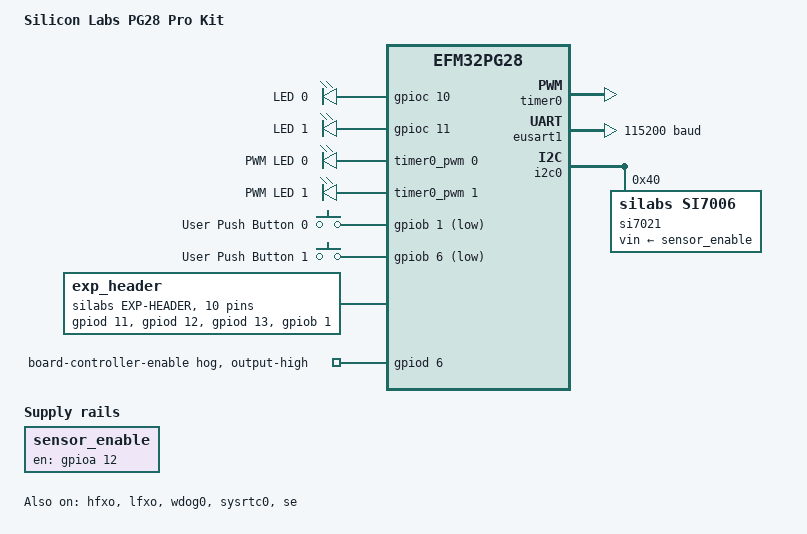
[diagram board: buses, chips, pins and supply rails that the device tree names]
/*
 * Copyright (c) 2025 Christoph Jans
 *
 * SPDX-License-Identifier: Apache-2.0
 */

/dts-v1/;
#include <silabs/xg28/efm32pg28b310f1024im68.dtsi>
#include <zephyr/dt-bindings/input/input-event-codes.h>
#include <zephyr/dt-bindings/pwm/pwm.h>
#include <zephyr/dt-bindings/regulator/silabs_dcdc.h>
#include "pg28_pk2506a-pinctrl.dtsi"

/ {
	model = "Silicon Labs PG28 Pro Kit";
	compatible = "silabs,pg28_pk2506a", "silabs,efm32pg28";

	chosen {
		zephyr,code-partition = &slot0_partition;
		zephyr,console = &eusart1;
		zephyr,flash = &flash0;
		zephyr,shell-uart = &eusart1;
		zephyr,sram = &sram0;
		zephyr,uart-pipe = &eusart1;
	};

	aliases {
		dht0 = &si7021;
		led0 = &led0;
		led1 = &led1;
		pwm-led0 = &pwm_led0;
		pwm-led1 = &pwm_led1;
		sw0 = &button0;
		sw1 = &button1;
		watchdog0 = &wdog0;
	};

	leds {
		compatible = "gpio-leds";

		led0: led_0 {
			gpios = <&gpioc 10 GPIO_ACTIVE_HIGH>;
			label = "LED 0";
		};

		led1: led_1 {
			gpios = <&gpioc 11 GPIO_ACTIVE_HIGH>;
			label = "LED 1";
		};
	};

	pwmleds {
		compatible = "pwm-leds";

		pwm_led0: pwm_led_0 {
			pwms = <&timer0_pwm 0 PWM_MSEC(20) PWM_POLARITY_NORMAL>;
			label = "PWM LED 0";
		};

		pwm_led1: pwm_led_1 {
			pwms = <&timer0_pwm 1 PWM_MSEC(20) PWM_POLARITY_NORMAL>;
			label = "PWM LED 1";
		};
	};

	buttons {
		compatible = "gpio-keys";

		button0: button_0 {
			gpios = <&gpiob 1 GPIO_ACTIVE_LOW>;
			label = "User Push Button 0";
			zephyr,code = <INPUT_KEY_0>;
		};

		button1: button_1 {
			gpios = <&gpiob 6 GPIO_ACTIVE_LOW>;
			label = "User Push Button 1";
			zephyr,code = <INPUT_KEY_1>;
		};
	};

	sensor_enable: sensor_enable {
		compatible = "regulator-fixed";
		regulator-name = "sensor_enable";
		enable-gpios = <&gpioa 12 GPIO_ACTIVE_HIGH>;
		status = "okay";
	};

	exp_header: exp-header {
		compatible = "silabs,exp-header";
		#gpio-cells = <2>;
		gpio-map = <4 0 &gpiod 11 0>,
			   <6 0 &gpiod 12 0>,
			   <8 0 &gpiod 13 0>,
			   <9 0 &gpiob 1 0>,
			   <10 0 &gpiod 14 0>,
			   <12 0 &gpiod 7 0>,
			   <13 0 &gpioc 11 0>,
			   <14 0 &gpiod 8 0>,
			   <15 0 &gpiod 10 0>,
			   <16 0 &gpiod 9 0>;
		gpio-map-mask = <0xffffffff 0x0>;
		gpio-map-pass-thru = <0x0 GPIO_DT_FLAGS_MASK>;
	};
};

&timer0 {
	status = "okay";

	timer0_pwm: pwm {
		pinctrl-0 = <&timer0_default>;
		pinctrl-names = "default";
		status = "okay";
	};
};

&cpu0 {
	clock-frequency = <78000000>;
};

&hfxo {
	status = "okay";
	ctune = <114>;
	precision = <50>;
};

&lfxo {
	status = "okay";
	ctune = <38>;
	precision = <50>;
};

&hfrcodpll {
	clock-frequency = <DT_FREQ_M(78)>;
	clocks = <&hfxo>;
	dpll-autorecover;
	dpll-edge = "fall";
	dpll-lock = "phase";
	dpll-m = <1919>;
	dpll-n = <3839>;
};

&em23grpaclk {
	clocks = <&lfxo>;
};

&em4grpaclk {
	clocks = <&lfxo>;
};

&sysrtcclk {
	clocks = <&lfxo>;
};

&wdog0clk {
	clocks = <&lfxo>;
};

&wdog1clk {
	clocks = <&lfxo>;
};

&eusart1 {
	compatible = "silabs,eusart-uart";
	current-speed = <115200>;
	pinctrl-0 = <&eusart1_default>;
	pinctrl-names = "default";
	status = "okay";
};

&i2c0 {
	pinctrl-0 = <&i2c0_default>;
	pinctrl-names = "default";
	status = "okay";

	si7021: si7021@40 {
		compatible = "silabs,si7006";
		reg = <0x40>;
		vin-supply = <&sensor_enable>;
	};
};

&gpio {
	status = "okay";
};

&gpioa {
	status = "okay";
};

&gpiob {
	status = "okay";
};

&gpioc {
	status = "okay";
};

&gpiod {
	status = "okay";

	/* VCOM Isolation. Set PD6 to HIGH to enable VCOM_{RX,TX}. */
	board-controller-enable {
		gpio-hog;
		gpios = <6 GPIO_ACTIVE_HIGH>;
		output-high;
	};
};

&wdog0 {
	status = "okay";
};

&sysrtc0 {
	status = "okay";
};

&se {
	status = "okay";
};

&dcdc {
	regulator-boot-on;
	silabs,pfmx-peak-current-milliamp = <80>;
	status = "okay";
};

&flash0 {
	partitions {
		compatible = "fixed-partitions";
		#address-cells = <1>;
		#size-cells = <1>;

		/* Reserve 48 kB for the bootloader */
		boot_partition: partition@0 {
			reg = <0x0 DT_SIZE_K(48)>;
			label = "mcuboot";
			read-only;
		};

		/* Reserve 472 kB for the application in slot 0 */
		slot0_partition: partition@c000 {
			reg = <0x0000c000 DT_SIZE_K(472)>;
			label = "image-0";
		};

		/* Reserve 472 kB for the application in slot 1 */
		slot1_partition: partition@82000 {
			reg = <0x00082000 DT_SIZE_K(472)>;
			label = "image-1";
		};

		/* Reserve 32 kB for the storage partition */
		storage_partition: partition@f8000 {
			reg = <0x000f8000 DT_SIZE_K(32)>;
			label = "storage";
		};
	};
};
